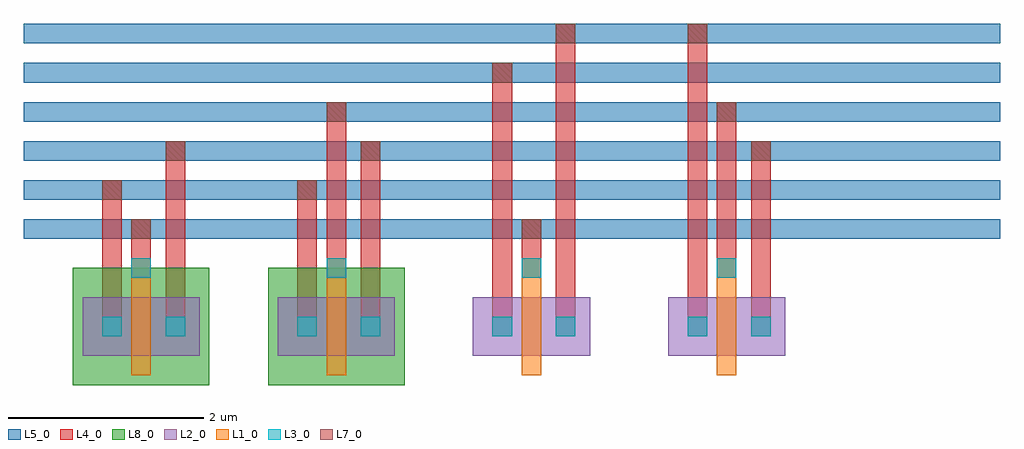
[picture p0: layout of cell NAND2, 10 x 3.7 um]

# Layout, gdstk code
import gdstk
lib = gdstk.Library(unit=1e-6, precision=1e-09)
def R(c, l, rs):  # rectangles x0, y0, x1, y1
    for r in rs: c.add(gdstk.rectangle(r[:2], r[2:], *l))
def A(c, l, x, y, w, h, nx, ny, dx, dy):  # array of equal rectangles
    R(c, l, [(x+i*dx, y+j*dy, x+i*dx+w, y+j*dy+h) for i in range(nx) for j in range(ny)])
L1_0 = (1, 0)
L2_0 = (2, 0)
L3_0 = (3, 0)
L4_0 = (4, 0)
L5_0 = (5, 0)
L7_0 = (7, 0)
L8_0 = (8, 0)

nand2 = lib.new_cell('NAND2')
A(nand2, L1_0, 0.9, -0.2, 0.2, 1.2, 4, 1, 2, 0)
A(nand2, L2_0, 0.4, 0, 1.2, 0.6, 4, 1, 2, 0)
A(nand2, L3_0, 0.9, 0.8, 0.2, 0.2, 4, 1, 2, 0)
R(nand2, L3_0, [(0.6,0.2,0.8,0.4), (1.25,0.2,1.45,0.4), (2.6,0.2,2.8,0.4), (3.25,0.2,3.45,0.4), (4.6,0.2,4.8,0.4), (5.25,0.2,5.45,0.4), (6.6,0.2,6.8,0.4), (7.25,0.2,7.45,0.4)])
R(nand2, L4_0, [(0.6,0.2,0.8,1.8), (1.25,0.2,1.45,2.2), (2.6,0.2,2.8,1.8), (3.25,0.2,3.45,2.2), (4.6,0.2,4.8,3), (5.25,0.2,5.45,3.4), (6.6,0.2,6.8,3.4), (7.25,0.2,7.45,2.2), (0.9,0.8,1.1,1.4), (2.9,0.8,3.1,2.6), (4.9,0.8,5.1,1.4), (6.9,0.8,7.1,2.6)])
A(nand2, L5_0, -0.2, 1.2, 10, 0.2, 1, 6, 0, 0.4)
R(nand2, L7_0, [(0.9,1.2,1.1,1.4), (4.9,1.2,5.1,1.4), (0.6,1.6,0.8,1.8), (2.6,1.6,2.8,1.8), (1.25,2,1.45,2.2), (3.25,2,3.45,2.2), (7.25,2,7.45,2.2), (2.9,2.4,3.1,2.6), (6.9,2.4,7.1,2.6), (4.6,2.8,4.8,3), (5.25,3.2,5.45,3.4), (6.6,3.2,6.8,3.4)])
R(nand2, L8_0, [(0.3,-0.3,1.7,0.9), (2.3,-0.3,3.7,0.9)])

lib.write_gds('NAND2.gds')
